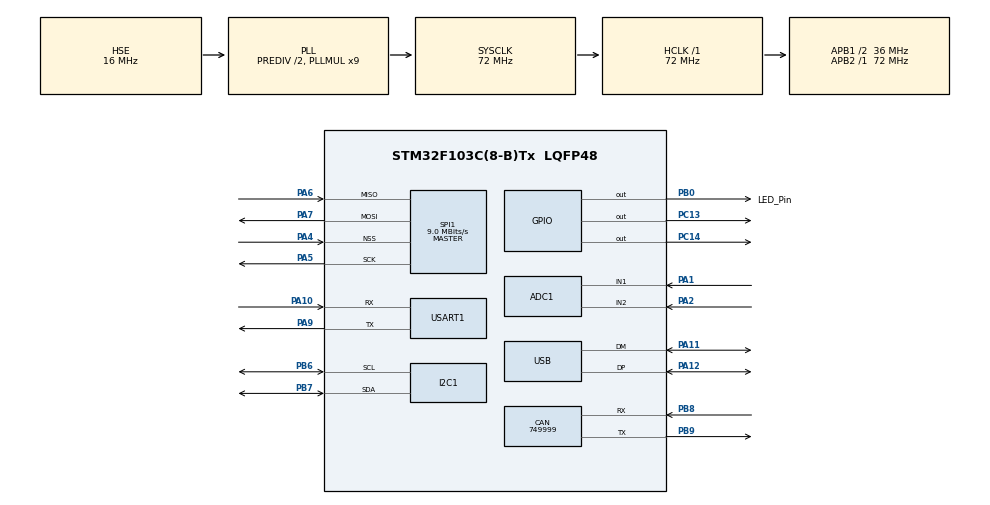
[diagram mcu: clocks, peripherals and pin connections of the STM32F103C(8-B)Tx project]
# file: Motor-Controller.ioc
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ADC1.Channel-1\#ChannelRegularConversion=ADC_CHANNEL_1
ADC1.NbrOfConversionFlag=1
ADC1.Rank-1\#ChannelRegularConversion=1
ADC1.SamplingTime-1\#ChannelRegularConversion=ADC_SAMPLETIME_1CYCLE_5
ADC1.master=1
CAN.BS1=CAN_BS1_1TQ
CAN.BS2=CAN_BS2_1TQ
CAN.CalculateBaudRate=749999
CAN.CalculateTimeBit=1333
CAN.CalculateTimeQuantum=444.44444444444446
Dma.I2C1_RX.0.Direction=DMA_PERIPH_TO_MEMORY
Dma.I2C1_RX.0.Instance=DMA1_Channel7
Dma.I2C1_RX.0.MemDataAlignment=DMA_MDATAALIGN_BYTE
Dma.I2C1_RX.0.MemInc=DMA_MINC_ENABLE
Dma.I2C1_RX.0.Mode=DMA_NORMAL
Dma.I2C1_RX.0.PeriphDataAlignment=DMA_PDATAALIGN_BYTE
Dma.I2C1_RX.0.PeriphInc=DMA_PINC_DISABLE
Dma.I2C1_RX.0.Priority=DMA_PRIORITY_LOW
Dma.I2C1_TX.1.Direction=DMA_MEMORY_TO_PERIPH
Dma.I2C1_TX.1.Instance=DMA1_Channel6
Dma.I2C1_TX.1.MemDataAlignment=DMA_MDATAALIGN_BYTE
Dma.I2C1_TX.1.MemInc=DMA_MINC_ENABLE
Dma.I2C1_TX.1.Mode=DMA_NORMAL
Dma.I2C1_TX.1.PeriphDataAlignment=DMA_PDATAALIGN_BYTE
Dma.I2C1_TX.1.PeriphInc=DMA_PINC_DISABLE
Dma.I2C1_TX.1.Priority=DMA_PRIORITY_LOW
Dma.Request0=I2C1_RX
Dma.Request1=I2C1_TX
Mcu.Family=STM32F1
Mcu.Name=STM32F103C(8-B)Tx
Mcu.Package=LQFP48
NVIC.DMA1_Channel6_IRQn=true\:0\:0\:false\:false\:true\:false\:true\:true
NVIC.DMA1_Channel7_IRQn=true\:0\:0\:false\:false\:true\:false\:true\:true
NVIC.I2C1_ER_IRQn=true\:0\:0\:false\:false\:true\:true\:true\:true
NVIC.I2C1_EV_IRQn=true\:0\:0\:false\:false\:true\:true\:true\:true
NVIC.PriorityGroup=NVIC_PRIORITYGROUP_4
PA1.Signal=ADCx_IN1
PA10.Mode=Asynchronous
PA10.Signal=USART1_RX
PA11.Mode=Device
PA11.Signal=USB_DM
PA12.Mode=Device
PA12.Signal=USB_DP
PA13.Mode=JTAG_4_pins
PA13.Signal=SYS_JTMS-SWDIO
PA14.Mode=JTAG_4_pins
PA14.Signal=SYS_JTCK-SWCLK
PA15.Mode=JTAG_4_pins
PA15.Signal=SYS_JTDI
PA2.Signal=ADCx_IN2
PA4.Mode=NSS_Signal_Hard_Input
PA4.Signal=SPI1_NSS
PA5.Mode=Full_Duplex_Master
PA5.Signal=SPI1_SCK
PA6.Mode=Full_Duplex_Master
PA6.Signal=SPI1_MISO
PA7.Mode=Full_Duplex_Master
PA7.Signal=SPI1_MOSI
PA9.Mode=Asynchronous
PA9.Signal=USART1_TX
PB0.GPIO_Label=LED_Pin
PB0.Signal=GPIO_Output
PB3.Mode=JTAG_4_pins
PB3.Signal=SYS_JTDO-TRACESWO
PB6.Mode=I2C
PB6.Signal=I2C1_SCL
PB7.Mode=I2C
PB7.Signal=I2C1_SDA
PB8.Mode=CAN_Activate
PB8.Signal=CAN_RX
PB9.Mode=CAN_Activate
PB9.Signal=CAN_TX
PC13-TAMPER-RTC.Signal=GPIO_Output
PC14-OSC32_IN.Signal=GPIO_Output
PD0-OSC_IN.Mode=HSE-External-Oscillator
PD0-OSC_IN.Signal=RCC_OSC_IN
PD1-OSC_OUT.Mode=HSE-External-Oscillator
PD1-OSC_OUT.Signal=RCC_OSC_OUT
ProjectManager.HeapSize=0x200
ProjectManager.StackSize=0x400
ProjectManager.TargetToolchain=STM32CubeIDE
RCC.ADCPresc=RCC_ADCPCLK2_DIV6
RCC.AHBFreq_Value=72000000
RCC.APB1CLKDivider=RCC_HCLK_DIV2
RCC.APB1Freq_Value=36000000
RCC.APB1TimFreq_Value=72000000
RCC.APB2Freq_Value=72000000
RCC.APB2TimFreq_Value=72000000
RCC.HCLKFreq_Value=72000000
RCC.HSEDivPLL=RCC_HSE_PREDIV_DIV2
RCC.HSE_VALUE=16000000
RCC.PLLMUL=RCC_PLL_MUL9
RCC.SYSCLKFreq_VALUE=72000000
RCC.SYSCLKSource=RCC_SYSCLKSOURCE_PLLCLK
RCC.USBFreq_Value=48000000
RCC.USBPrescaler=RCC_USBCLKSOURCE_PLL_DIV1_5
SH.ADCx_IN1.0=ADC1_IN1,IN1
SH.ADCx_IN2.0=ADC1_IN2,IN2
SPI1.BaudRatePrescaler=SPI_BAUDRATEPRESCALER_8
SPI1.CalculateBaudRate=9.0 MBits/s
SPI1.Direction=SPI_DIRECTION_2LINES
SPI1.Mode=SPI_MODE_MASTER
SPI1.VirtualNSS=VM_NSSHARD
SPI1.VirtualType=VM_MASTER
USART1.VirtualMode=VM_ASYNC
board=custom

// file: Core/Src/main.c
/* USER CODE BEGIN Header */
/**
  ******************************************************************************
  * @file           : main.c
  * @brief          : Main program body
  ******************************************************************************
  * @attention
  *
  * Copyright (c) 2024 STMicroelectronics.
  * All rights reserved.
  *
  * This software is licensed under terms that can be found in the LICENSE file
  * in the root directory of this software component.
  * If no LICENSE file comes with this software, it is provided AS-IS.
  *
  ******************************************************************************
  */
/* USER CODE END Header */
#include "main.h"

ADC_HandleTypeDef hadc1;

CAN_HandleTypeDef hcan;

I2C_HandleTypeDef hi2c1;
DMA_HandleTypeDef hdma_i2c1_rx;
DMA_HandleTypeDef hdma_i2c1_tx;

SPI_HandleTypeDef hspi1;

UART_HandleTypeDef huart1;

PCD_HandleTypeDef hpcd_USB_FS;

/* USER CODE BEGIN PV */
char buf[20];
/* USER CODE END PV */

void SystemClock_Config(void);
static void MX_GPIO_Init(void);
static void MX_DMA_Init(void);
static void MX_ADC1_Init(void);
static void MX_CAN_Init(void);
static void MX_I2C1_Init(void);
static void MX_SPI1_Init(void);
static void MX_USART1_UART_Init(void);
static void MX_USB_PCD_Init(void);

/* USER CODE BEGIN 0 */

uint32_t const  my_i2c_xfer(uint8_t const slave_address,
                           uint8_t * const p_tx_buffer,
                           size_t const tx_buffer_size,
                           uint8_t * const p_rx_buffer,
                           size_t const rx_buffer_size)
{

        uint32_t const timeout = 100;
        HAL_StatusTypeDef result = HAL_OK;
        bool is_rx_operation = true;

        if ((NULL == p_tx_buffer) || (0 == tx_buffer_size)) {
                result = HAL_ERROR;

        } else if ((NULL == p_rx_buffer) || (0 == rx_buffer_size)) {
                is_rx_operation = false;
        }

        if (HAL_OK == result) {
                // TX operation
                result = HAL_I2C_Master_Transmit(&hi2c1,
                                                 slave_address,
                                                 p_tx_buffer,
                                                 (uint16_t)tx_buffer_size,
                                                 timeout);
        }

        if ((HAL_OK == result) && (is_rx_operation)) {
                // RX operation
                result = HAL_I2C_Master_Receive(&hi2c1,
                                                slave_address,
                                                p_rx_buffer,
                                                rx_buffer_size,
                                                timeout);
        }

        return result;
}
/* USER CODE END 0 */

int main(void)
{

  /* MCU Configuration--------------------------------------------------------*/

  /* Reset of all peripherals, Initializes the Flash interface and the Systick. */
  HAL_Init();

  /* Configure the system clock */
  SystemClock_Config();

  /* Initialize all configured peripherals */
  MX_GPIO_Init();
  MX_DMA_Init();
  MX_ADC1_Init();
  MX_CAN_Init();
  MX_I2C1_Init();
  MX_SPI1_Init();
  MX_USART1_UART_Init();
  MX_USB_PCD_Init();
  /* USER CODE BEGIN 2 */

  volatile as5600_error_t result = as5600_init(my_i2c_xfer);

  uint16_t r_angle = 0u;

  /* USER CODE END 2 */

  /* Infinite loop */
  /* USER CODE BEGIN WHILE */
  while (1)
  {
	/*HAL_GPIO_WritePin(LED_Pin_GPIO_Port, LED_Pin_Pin, GPIO_PIN_SET);
	HAL_Delay(50);
	HAL_GPIO_WritePin(LED_Pin_GPIO_Port, LED_Pin_Pin, GPIO_PIN_RESET);
	HAL_Delay(150);

	result = as5600_get_angle(r_angle);
	result = as5600_get_status(p_status);

	printf("%d: %d  \r\n", (uint8_t)*p_status, *r_angle);*/

	HAL_GPIO_WritePin(STEPPER_Pin_GPIO_Port, DIR_PIN, GPIO_PIN_SET);

	for(int x = 0; x < stepsPerRevolution; x++){
		HAL_GPIO_WritePin(LED_Pin_GPIO_Port, LED_Pin_Pin, GPIO_PIN_SET);

		HAL_GPIO_WritePin(STEPPER_Pin_GPIO_Port, STEP_PIN, GPIO_PIN_SET);
		HAL_Delay(2);

		result = as5600_get_angle(&r_angle);
		printf(":: %d  \r\n", r_angle);

		HAL_GPIO_WritePin(STEPPER_Pin_GPIO_Port, STEP_PIN, GPIO_PIN_RESET);
		HAL_Delay(2);

		result = as5600_get_angle(&r_angle);
		printf(":: %d  \r\n", r_angle);
	}
	HAL_Delay(500);

	HAL_GPIO_WritePin(STEPPER_Pin_GPIO_Port, DIR_PIN, GPIO_PIN_RESET);

	for(int x = 0; x < stepsPerRevolution; x++){
		HAL_GPIO_WritePin(LED_Pin_GPIO_Port, LED_Pin_Pin, GPIO_PIN_RESET);

		HAL_GPIO_WritePin(STEPPER_Pin_GPIO_Port, STEP_PIN, GPIO_PIN_SET);
		HAL_Delay(2);

		result = as5600_get_angle(&r_angle);
		printf(":: %d  \r\n", r_angle);

		HAL_GPIO_WritePin(STEPPER_Pin_GPIO_Port, STEP_PIN, GPIO_PIN_RESET);
		HAL_Delay(2);

		result = as5600_get_angle(&r_angle);
		printf(":: %d  \r\n", r_angle);
	}
	HAL_Delay(500);
    /* USER CODE END WHILE */

  }
}

void SystemClock_Config(void)
{
  RCC_OscInitTypeDef RCC_OscInitStruct = {0};
  RCC_ClkInitTypeDef RCC_ClkInitStruct = {0};
  RCC_PeriphCLKInitTypeDef PeriphClkInit = {0};

  /** Initializes the RCC Oscillators according to the specified parameters
  * in the RCC_OscInitTypeDef structure.
  */
  RCC_OscInitStruct.OscillatorType = RCC_OSCILLATORTYPE_HSE;
  RCC_OscInitStruct.HSEState = RCC_HSE_ON;
  RCC_OscInitStruct.HSEPredivValue = RCC_HSE_PREDIV_DIV2;
  RCC_OscInitStruct.HSIState = RCC_HSI_ON;
  RCC_OscInitStruct.PLL.PLLState = RCC_PLL_ON;
  RCC_OscInitStruct.PLL.PLLSource = RCC_PLLSOURCE_HSE;
  RCC_OscInitStruct.PLL.PLLMUL = RCC_PLL_MUL9;
  if (HAL_RCC_OscConfig(&RCC_OscInitStruct) != HAL_OK)
  {
    Error_Handler();
  }

  /** Initializes the CPU, AHB and APB buses clocks
  */
  RCC_ClkInitStruct.ClockType = RCC_CLOCKTYPE_HCLK|RCC_CLOCKTYPE_SYSCLK
                              |RCC_CLOCKTYPE_PCLK1|RCC_CLOCKTYPE_PCLK2;
  RCC_ClkInitStruct.SYSCLKSource = RCC_SYSCLKSOURCE_PLLCLK;
  RCC_ClkInitStruct.AHBCLKDivider = RCC_SYSCLK_DIV1;
  RCC_ClkInitStruct.APB1CLKDivider = RCC_HCLK_DIV2;
  RCC_ClkInitStruct.APB2CLKDivider = RCC_HCLK_DIV1;

  if (HAL_RCC_ClockConfig(&RCC_ClkInitStruct, FLASH_LATENCY_2) != HAL_OK)
  {
    Error_Handler();
  }
  PeriphClkInit.PeriphClockSelection = RCC_PERIPHCLK_ADC|RCC_PERIPHCLK_USB;
  PeriphClkInit.AdcClockSelection = RCC_ADCPCLK2_DIV6;
  PeriphClkInit.UsbClockSelection = RCC_USBCLKSOURCE_PLL_DIV1_5;
  if (HAL_RCCEx_PeriphCLKConfig(&PeriphClkInit) != HAL_OK)
  {
    Error_Handler();
  }
}

static void MX_ADC1_Init(void)
{

  ADC_ChannelConfTypeDef sConfig = {0};

  /** Common config
  */
  hadc1.Instance = ADC1;
  hadc1.Init.ScanConvMode = ADC_SCAN_DISABLE;
  hadc1.Init.ContinuousConvMode = DISABLE;
  hadc1.Init.DiscontinuousConvMode = DISABLE;
  hadc1.Init.ExternalTrigConv = ADC_SOFTWARE_START;
  hadc1.Init.DataAlign = ADC_DATAALIGN_RIGHT;
  hadc1.Init.NbrOfConversion = 1;
  if (HAL_ADC_Init(&hadc1) != HAL_OK)
  {
    Error_Handler();
  }

  /** Configure Regular Channel
  */
  sConfig.Channel = ADC_CHANNEL_1;
  sConfig.Rank = ADC_REGULAR_RANK_1;
  sConfig.SamplingTime = ADC_SAMPLETIME_1CYCLE_5;
  if (HAL_ADC_ConfigChannel(&hadc1, &sConfig) != HAL_OK)
  {
    Error_Handler();
  }

}

static void MX_CAN_Init(void)
{

  hcan.Instance = CAN1;
  hcan.Init.Prescaler = 16;
  hcan.Init.Mode = CAN_MODE_NORMAL;
  hcan.Init.SyncJumpWidth = CAN_SJW_1TQ;
  hcan.Init.TimeSeg1 = CAN_BS1_1TQ;
  hcan.Init.TimeSeg2 = CAN_BS2_1TQ;
  hcan.Init.TimeTriggeredMode = DISABLE;
  hcan.Init.AutoBusOff = DISABLE;
  hcan.Init.AutoWakeUp = DISABLE;
  hcan.Init.AutoRetransmission = DISABLE;
  hcan.Init.ReceiveFifoLocked = DISABLE;
  hcan.Init.TransmitFifoPriority = DISABLE;
  if (HAL_CAN_Init(&hcan) != HAL_OK)
  {
    Error_Handler();
  }

}

static void MX_I2C1_Init(void)
{

  hi2c1.Instance = I2C1;
  hi2c1.Init.ClockSpeed = 100000;
  hi2c1.Init.DutyCycle = I2C_DUTYCYCLE_2;
  hi2c1.Init.OwnAddress1 = 0;
  hi2c1.Init.AddressingMode = I2C_ADDRESSINGMODE_7BIT;
  hi2c1.Init.DualAddressMode = I2C_DUALADDRESS_DISABLE;
  hi2c1.Init.OwnAddress2 = 0;
  hi2c1.Init.GeneralCallMode = I2C_GENERALCALL_DISABLE;
  hi2c1.Init.NoStretchMode = I2C_NOSTRETCH_DISABLE;
  if (HAL_I2C_Init(&hi2c1) != HAL_OK)
  {
    Error_Handler();
  }

}

static void MX_SPI1_Init(void)
{

  /* SPI1 parameter configuration*/
  hspi1.Instance = SPI1;
  hspi1.Init.Mode = SPI_MODE_MASTER;
  hspi1.Init.Direction = SPI_DIRECTION_2LINES;
  hspi1.Init.DataSize = SPI_DATASIZE_8BIT;
  hspi1.Init.CLKPolarity = SPI_POLARITY_LOW;
  hspi1.Init.CLKPhase = SPI_PHASE_1EDGE;
  hspi1.Init.NSS = SPI_NSS_HARD_INPUT;
  hspi1.Init.BaudRatePrescaler = SPI_BAUDRATEPRESCALER_8;
  hspi1.Init.FirstBit = SPI_FIRSTBIT_MSB;
  hspi1.Init.TIMode = SPI_TIMODE_DISABLE;
  hspi1.Init.CRCCalculation = SPI_CRCCALCULATION_DISABLE;
  hspi1.Init.CRCPolynomial = 10;
  if (HAL_SPI_Init(&hspi1) != HAL_OK)
  {
    Error_Handler();
  }

}

static void MX_USART1_UART_Init(void)
{

  huart1.Instance = USART1;
  huart1.Init.BaudRate = 115200;
  huart1.Init.WordLength = UART_WORDLENGTH_8B;
  huart1.Init.StopBits = UART_STOPBITS_1;
  huart1.Init.Parity = UART_PARITY_NONE;
  huart1.Init.Mode = UART_MODE_TX_RX;
  huart1.Init.HwFlowCtl = UART_HWCONTROL_NONE;
  huart1.Init.OverSampling = UART_OVERSAMPLING_16;
  if (HAL_UART_Init(&huart1) != HAL_OK)
  {
    Error_Handler();
  }

}

static void MX_USB_PCD_Init(void)
{

  hpcd_USB_FS.Instance = USB;
  hpcd_USB_FS.Init.dev_endpoints = 8;
  hpcd_USB_FS.Init.speed = PCD_SPEED_FULL;
  hpcd_USB_FS.Init.low_power_enable = DISABLE;
  hpcd_USB_FS.Init.lpm_enable = DISABLE;
  hpcd_USB_FS.Init.battery_charging_enable = DISABLE;
  if (HAL_PCD_Init(&hpcd_USB_FS) != HAL_OK)
  {
    Error_Handler();
  }

}

static void MX_DMA_Init(void)
{

  /* DMA controller clock enable */
  __HAL_RCC_DMA1_CLK_ENABLE();

  /* DMA interrupt init */
  /* DMA1_Channel6_IRQn interrupt configuration */
  HAL_NVIC_SetPriority(DMA1_Channel6_IRQn, 0, 0);
  HAL_NVIC_EnableIRQ(DMA1_Channel6_IRQn);
  /* DMA1_Channel7_IRQn interrupt configuration */
  HAL_NVIC_SetPriority(DMA1_Channel7_IRQn, 0, 0);
  HAL_NVIC_EnableIRQ(DMA1_Channel7_IRQn);

}

static void MX_GPIO_Init(void)
{
  GPIO_InitTypeDef GPIO_InitStruct = {0};

  /* GPIO Ports Clock Enable */
  __HAL_RCC_GPIOC_CLK_ENABLE();
  __HAL_RCC_GPIOD_CLK_ENABLE();
  __HAL_RCC_GPIOA_CLK_ENABLE();
  __HAL_RCC_GPIOB_CLK_ENABLE();

  /*Configure GPIO pin Output Level */
  HAL_GPIO_WritePin(GPIOC, GPIO_PIN_13|GPIO_PIN_14, GPIO_PIN_RESET);

  /*Configure GPIO pin Output Level */
  HAL_GPIO_WritePin(LED_Pin_GPIO_Port, LED_Pin_Pin, GPIO_PIN_RESET);

  /*Configure GPIO pins : PC13 PC14 */
  GPIO_InitStruct.Pin = GPIO_PIN_13|GPIO_PIN_14;
  GPIO_InitStruct.Mode = GPIO_MODE_OUTPUT_PP;
  GPIO_InitStruct.Pull = GPIO_NOPULL;
  GPIO_InitStruct.Speed = GPIO_SPEED_FREQ_LOW;
  HAL_GPIO_Init(GPIOC, &GPIO_InitStruct);

  /*Configure GPIO pin : LED_Pin_Pin */
  GPIO_InitStruct.Pin = LED_Pin_Pin;
  GPIO_InitStruct.Mode = GPIO_MODE_OUTPUT_PP;
  GPIO_InitStruct.Pull = GPIO_NOPULL;
  GPIO_InitStruct.Speed = GPIO_SPEED_FREQ_LOW;
  HAL_GPIO_Init(LED_Pin_GPIO_Port, &GPIO_InitStruct);

}

/* USER CODE BEGIN 4 */
int __io_putchar(int ch)
{
 // Write character to ITM ch.0
 ITM_SendChar(ch);
 return(ch);
}

int puts(const char * ch){
	 int DataIdx;
	 for(DataIdx = 0; DataIdx < strlen(ch)+1; DataIdx++)
	 {
		 ITM_SendChar(*ch++);
	 }
	 return(DataIdx);
}
/* USER CODE END 4 */

void Error_Handler(void)
{
  __disable_irq();
  while (1)
  {
  }
}
